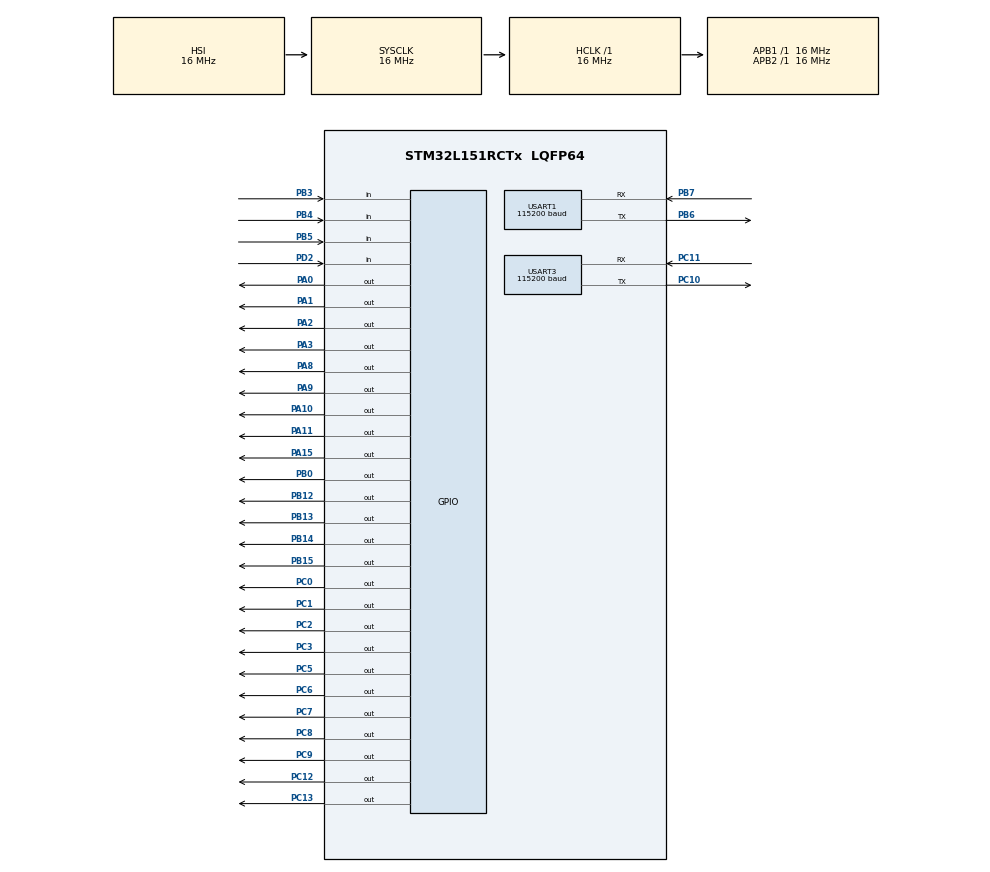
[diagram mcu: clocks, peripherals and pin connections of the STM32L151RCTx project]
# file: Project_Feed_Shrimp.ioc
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Mcu.Family=STM32L1
Mcu.Name=STM32L151RCTx
Mcu.Package=LQFP64
NVIC.PriorityGroup=NVIC_PRIORITYGROUP_4
NVIC.TIM2_IRQn=true\:3\:0\:true\:false\:true\:true\:true\:true
NVIC.USART1_IRQn=true\:2\:0\:true\:false\:true\:true\:true\:true
NVIC.USART3_IRQn=true\:2\:0\:true\:false\:true\:true\:true\:true
PA0-WKUP1.Signal=GPIO_Output
PA1.Signal=GPIO_Output
PA10.Signal=GPIO_Output
PA11.Signal=GPIO_Output
PA13.Mode=Serial_Wire
PA13.Signal=SYS_JTMS-SWDIO
PA14.Mode=Serial_Wire
PA14.Signal=SYS_JTCK-SWCLK
PA15.Signal=GPIO_Output
PA2.Signal=GPIO_Output
PA3.Signal=GPIO_Output
PA8.Signal=GPIO_Output
PA9.Signal=GPIO_Output
PB0.Signal=GPIO_Output
PB12.Signal=GPIO_Output
PB13.Signal=GPIO_Output
PB14.Signal=GPIO_Output
PB15.Signal=GPIO_Output
PB3.GPIO_PuPd=GPIO_PULLUP
PB3.Signal=GPIO_Input
PB4.GPIO_PuPd=GPIO_PULLUP
PB4.Signal=GPIO_Input
PB5.GPIO_PuPd=GPIO_PULLUP
PB5.Signal=GPIO_Input
PB6.Mode=Asynchronous
PB6.Signal=USART1_TX
PB7.Mode=Asynchronous
PB7.Signal=USART1_RX
PC0.Signal=GPIO_Output
PC1.Signal=GPIO_Output
PC10.Mode=Asynchronous
PC10.Signal=USART3_TX
PC11.Mode=Asynchronous
PC11.Signal=USART3_RX
PC12.Signal=GPIO_Output
PC13-WKUP2.Signal=GPIO_Output
PC14-OSC32_IN.Mode=LSE-External-Oscillator
PC14-OSC32_IN.Signal=RCC_OSC32_IN
PC15-OSC32_OUT.Mode=LSE-External-Oscillator
PC15-OSC32_OUT.Signal=RCC_OSC32_OUT
PC2.Signal=GPIO_Output
PC3.Signal=GPIO_Output
PC5.Signal=GPIO_Output
PC6.Signal=GPIO_Output
PC7.Signal=GPIO_Output
PC8.Signal=GPIO_Output
PC9.Signal=GPIO_Output
PD2.GPIO_PuPd=GPIO_PULLUP
PD2.Signal=GPIO_Input
PH0-OSC_IN.Mode=HSE-External-Oscillator
PH0-OSC_IN.Signal=RCC_OSC_IN
PH1-OSC_OUT.Mode=HSE-External-Oscillator
PH1-OSC_OUT.Signal=RCC_OSC_OUT
ProjectManager.HeapSize=0x200
ProjectManager.StackSize=0x400
ProjectManager.TargetToolchain=MDK-ARM V5
RCC.AHBFreq_Value=16000000
RCC.APB1Freq_Value=16000000
RCC.APB1TimFreq_Value=16000000
RCC.APB2Freq_Value=16000000
RCC.APB2TimFreq_Value=16000000
RCC.HCLKFreq_Value=16000000
RCC.HSE_VALUE=24000000
RCC.HSI_VALUE=16000000
RCC.MSI_VALUE=2097000
RCC.RTCClockSelection=RCC_RTCCLKSOURCE_LSE
RCC.RTCClockSelectionVirtual=RCC_RTCCLKSOURCE_LSE
RCC.SYSCLKFreq_VALUE=16000000
RCC.SYSCLKSource=RCC_SYSCLKSOURCE_HSI
RCC.VCOOutputFreq_Value=48000000
RTC.AsynchPrediv=127
RTC.Date=4
RTC.Format=RTC_FORMAT_BIN
RTC.Hours=0
RTC.Minutes=0
RTC.Month=RTC_MONTH_JANUARY
RTC.SynchPrediv=255
RTC.WeekDay=RTC_WEEKDAY_MONDAY
RTC.Year=0
TIM2.AutoReloadPreload=TIM_AUTORELOAD_PRELOAD_ENABLE
TIM2.Period=999
TIM2.Prescaler=15999
USART1.BaudRate=115200
USART1.VirtualMode=VM_ASYNC
USART3.BaudRate=115200
USART3.VirtualMode=VM_ASYNC
VP_RTC_VS_RTC_Activate.Mode=RTC_Enabled
VP_RTC_VS_RTC_Calendar.Mode=RTC_Calendar
VP_TIM2_VS_ClockSourceINT.Mode=Internal
board=custom

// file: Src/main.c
/* USER CODE BEGIN Header */
/**
  ******************************************************************************
  * @file           : main.c
  * @brief          : Main program body
  ******************************************************************************
  * @attention
  *
  * <h2><center>&copy; Copyright (c) 2023 STMicroelectronics.
  * All rights reserved.</center></h2>
  *
  * This software component is licensed by ST under BSD 3-Clause license,
  * the "License"; You may not use this file except in compliance with the
  * License. You may obtain a copy of the License at:
  *                        opensource.org/licenses/BSD-3-Clause
  *
  ******************************************************************************
  */
/* USER CODE END Header */
#include "main.h"

/* USER CODE BEGIN Includes */
#include "main.h"
#include "CLCD.h"
#include "Relay_Led.h"
#include "user_LCD_object.h"
#include "user_check_button.h"
#include "uart_sim.h"
#include "user_sim.h"
/* USER CODE END Includes */

/* USER CODE BEGIN PD */
#define RELAY1 GPIO_PIN_2
#define RELAY2 GPIO_PIN_3
#define RELAY3 GPIO_PIN_0
#define RELAY4 GPIO_PIN_1
#define LED5   GPIO_PIN_0
#define LED6   GPIO_PIN_1

/* USER CODE END PD */

RTC_HandleTypeDef hrtc;

TIM_HandleTypeDef htim2;

UART_HandleTypeDef huart1;
UART_HandleTypeDef huart3;

/* USER CODE BEGIN PV */
uint32_t runTime=0;
uint32_t time1=10; //so giay cho an
uint32_t time2=10;	//so phut giua 2 chu ky ban
uint32_t time3=5; //thoi gian giua 2 moto vang va chinh luong

uint16_t State=1;
uint16_t checkState=0;
uint16_t countState=0;
uint16_t setupCount=1;
uint16_t check_Power_OFF=0;
uint8_t check_config=0;
uint8_t check_connect=0;

//gio phut giay
uint16_t hh, mm, ss;

CLCD_Name LCD;

UART_BUFFER rx_uart3;
UART_BUFFER rx_uart1;

RTC_TimeTypeDef sTime;
RTC_DateTypeDef sDate;

REAL_TIME RTC_Current={0};
uint8_t get_RTC=0;
uint8_t get_RTC_complete=0;
uint8_t run_Time_Current=0;
/* USER CODE END PV */

void SystemClock_Config(void);
static void MX_GPIO_Init(void);
static void MX_TIM2_Init(void);
static void MX_USART1_UART_Init(void);
static void MX_USART3_UART_Init(void);
static void MX_RTC_Init(void);
/* USER CODE BEGIN PFP */
void HAL_TIM_PeriodElapsedCallback(TIM_HandleTypeDef *htim);
void HAL_UART_RxCpltCallback(UART_HandleTypeDef *huart);
/* USER CODE END PFP */

/* USER CODE BEGIN 0 */
void Delay_1ms(void);
void Delay_s(int time);
void Check_BT_Callback(void);
void Check_Test(void);
void Set_Time(uint16_t *hh, uint16_t *mm, uint16_t *ss);
void Run_Feed_Shrimp(void);
void BT_Check_Up_Down(void);
void Display_Time(void);
void Read_Flash(void);
void Check_SMS_Receive(void);
void Set_RTC(REAL_TIME RTC_Current);
void Module_SIM(void);
void SendData_Control_SIM(void);
void Check_Disconnect_Error_SIM(void);
void Time_Current(void);
/* USER CODE END 0 */

int main(void)
{
  /* USER CODE BEGIN 1 */
	rx_uart1.huart=&huart1;
	rx_uart3.huart=&huart3;
  /* USER CODE END 1 */

  /* MCU Configuration--------------------------------------------------------*/

  /* Reset of all peripherals, Initializes the Flash interface and the Systick. */
  HAL_Init();

  /* Configure the system clock */
  SystemClock_Config();

  /* Initialize all configured peripherals */
  MX_GPIO_Init();
  MX_TIM2_Init();
  MX_USART1_UART_Init();
  MX_USART3_UART_Init();
  MX_RTC_Init();
  /* USER CODE BEGIN 2 */
	//Linked_List_Init();
	HAL_TIM_Base_Start_IT(&htim2);
	HAL_UART_Receive_IT(&huart3,&rx_uart3.buffer,1);
	HAL_UART_Receive_IT(&huart1,&rx_uart1.buffer,1);

	CLCD_4BIT_Init(&LCD, 16,2, GPIOC, GPIO_PIN_8,GPIOC, GPIO_PIN_7,
                             GPIOC, GPIO_PIN_6,GPIOB, GPIO_PIN_15,
                             GPIOB, GPIO_PIN_14,GPIOB, GPIO_PIN_12);
	//Config_SIM_Before_While(&rx_uart1, &rx_uart3, runTime);
	Read_Flash();
	CLCD_SetCursor(&LCD, 0,0);
	CLCD_WriteString(&LCD, "        00:00:00");

	//Receive_SMS_Setup("+CMT: +84966674796,23/03/14,09:34:14+28 SETUP T1=  100  t3:199", &time1, &time2, &time3);
	Run_Begin(&setupCount, time1, time2, time3);
  /* USER CODE END 2 */

  /* Infinite loop */
	while (1)
  {

    /* USER CODE BEGIN 3 */
		//Check_SMS_Receive();
		Module_SIM();

		Display_Time();
		Check_BT_Callback();
		Time_Current();
		if(State==0 )
		{
			Check_Test();
			BT_Esc_Exit_Setup(&State, &setupCount, &time1, &time2, &time3);
			USER_LCD_Display_Running_OR_Setup(State);
			if(setupCount!=3) BT_Check_Up_Down();
			USER_LCD_Display_Setup(&LCD, setupCount);
		}

		if(State==1)
		{
			Run_Feed_Shrimp();
			USER_LCD_Display_Running_OR_Setup(State);
			USER_LCD_Display_Running(&LCD, setupCount);
			Check_Test();
		}
  }
  /* USER CODE END 3 */
}

void SystemClock_Config(void)
{
  RCC_OscInitTypeDef RCC_OscInitStruct = {0};
  RCC_ClkInitTypeDef RCC_ClkInitStruct = {0};
  RCC_PeriphCLKInitTypeDef PeriphClkInit = {0};

  /** Configure the main internal regulator output voltage
  */
  __HAL_PWR_VOLTAGESCALING_CONFIG(PWR_REGULATOR_VOLTAGE_SCALE1);

  /** Initializes the RCC Oscillators according to the specified parameters
  * in the RCC_OscInitTypeDef structure.
  */
  RCC_OscInitStruct.OscillatorType = RCC_OSCILLATORTYPE_HSI|RCC_OSCILLATORTYPE_LSE;
  RCC_OscInitStruct.LSEState = RCC_LSE_ON;
  RCC_OscInitStruct.HSIState = RCC_HSI_ON;
  RCC_OscInitStruct.HSICalibrationValue = RCC_HSICALIBRATION_DEFAULT;
  RCC_OscInitStruct.PLL.PLLState = RCC_PLL_NONE;
  if (HAL_RCC_OscConfig(&RCC_OscInitStruct) != HAL_OK)
  {
    Error_Handler();
  }

  /** Initializes the CPU, AHB and APB buses clocks
  */
  RCC_ClkInitStruct.ClockType = RCC_CLOCKTYPE_HCLK|RCC_CLOCKTYPE_SYSCLK
                              |RCC_CLOCKTYPE_PCLK1|RCC_CLOCKTYPE_PCLK2;
  RCC_ClkInitStruct.SYSCLKSource = RCC_SYSCLKSOURCE_HSI;
  RCC_ClkInitStruct.AHBCLKDivider = RCC_SYSCLK_DIV1;
  RCC_ClkInitStruct.APB1CLKDivider = RCC_HCLK_DIV1;
  RCC_ClkInitStruct.APB2CLKDivider = RCC_HCLK_DIV1;

  if (HAL_RCC_ClockConfig(&RCC_ClkInitStruct, FLASH_LATENCY_0) != HAL_OK)
  {
    Error_Handler();
  }
  PeriphClkInit.PeriphClockSelection = RCC_PERIPHCLK_RTC;
  PeriphClkInit.RTCClockSelection = RCC_RTCCLKSOURCE_LSE;
  if (HAL_RCCEx_PeriphCLKConfig(&PeriphClkInit) != HAL_OK)
  {
    Error_Handler();
  }
}

static void MX_RTC_Init(void)
{

  RTC_TimeTypeDef sTime = {0};
  RTC_DateTypeDef sDate = {0};

  /** Initialize RTC Only
  */
  hrtc.Instance = RTC;
  hrtc.Init.HourFormat = RTC_HOURFORMAT_24;
  hrtc.Init.AsynchPrediv = 127;
  hrtc.Init.SynchPrediv = 255;
  hrtc.Init.OutPut = RTC_OUTPUT_DISABLE;
  hrtc.Init.OutPutPolarity = RTC_OUTPUT_POLARITY_HIGH;
  hrtc.Init.OutPutType = RTC_OUTPUT_TYPE_OPENDRAIN;
  if (HAL_RTC_Init(&hrtc) != HAL_OK)
  {
    Error_Handler();
  }

  /* USER CODE BEGIN Check_RTC_BKUP */
	if(HAL_RTCEx_BKUPRead(&hrtc, RTC_BKP_DR1)==0x2608)
	{
  /* USER CODE END Check_RTC_BKUP */

  /** Initialize RTC and set the Time and Date
  */
  sTime.Hours = 0;
  sTime.Minutes = 0;
  sTime.Seconds = 0;
  sTime.DayLightSaving = RTC_DAYLIGHTSAVING_NONE;
  sTime.StoreOperation = RTC_STOREOPERATION_RESET;
  if (HAL_RTC_SetTime(&hrtc, &sTime, RTC_FORMAT_BIN) != HAL_OK)
  {
    Error_Handler();
  }
  sDate.WeekDay = RTC_WEEKDAY_MONDAY;
  sDate.Month = RTC_MONTH_JANUARY;
  sDate.Date = 4;
  sDate.Year = 0;

  if (HAL_RTC_SetDate(&hrtc, &sDate, RTC_FORMAT_BIN) != HAL_OK)
  {
    Error_Handler();
  }
  /* USER CODE BEGIN RTC_Init 2 */
	HAL_RTCEx_BKUPWrite(&hrtc, RTC_BKP_DR1, 0x2608);
	}
  /* USER CODE END RTC_Init 2 */

}

static void MX_TIM2_Init(void)
{

  TIM_ClockConfigTypeDef sClockSourceConfig = {0};
  TIM_MasterConfigTypeDef sMasterConfig = {0};

  htim2.Instance = TIM2;
  htim2.Init.Prescaler = 15999;
  htim2.Init.CounterMode = TIM_COUNTERMODE_UP;
  htim2.Init.Period = 999;
  htim2.Init.ClockDivision = TIM_CLOCKDIVISION_DIV1;
  htim2.Init.AutoReloadPreload = TIM_AUTORELOAD_PRELOAD_ENABLE;
  if (HAL_TIM_Base_Init(&htim2) != HAL_OK)
  {
    Error_Handler();
  }
  sClockSourceConfig.ClockSource = TIM_CLOCKSOURCE_INTERNAL;
  if (HAL_TIM_ConfigClockSource(&htim2, &sClockSourceConfig) != HAL_OK)
  {
    Error_Handler();
  }
  sMasterConfig.MasterOutputTrigger = TIM_TRGO_RESET;
  sMasterConfig.MasterSlaveMode = TIM_MASTERSLAVEMODE_DISABLE;
  if (HAL_TIMEx_MasterConfigSynchronization(&htim2, &sMasterConfig) != HAL_OK)
  {
    Error_Handler();
  }

}

static void MX_USART1_UART_Init(void)
{

  huart1.Instance = USART1;
  huart1.Init.BaudRate = 115200;
  huart1.Init.WordLength = UART_WORDLENGTH_8B;
  huart1.Init.StopBits = UART_STOPBITS_1;
  huart1.Init.Parity = UART_PARITY_NONE;
  huart1.Init.Mode = UART_MODE_TX_RX;
  huart1.Init.HwFlowCtl = UART_HWCONTROL_NONE;
  huart1.Init.OverSampling = UART_OVERSAMPLING_16;
  if (HAL_UART_Init(&huart1) != HAL_OK)
  {
    Error_Handler();
  }

}

static void MX_USART3_UART_Init(void)
{

  huart3.Instance = USART3;
  huart3.Init.BaudRate = 115200;
  huart3.Init.WordLength = UART_WORDLENGTH_8B;
  huart3.Init.StopBits = UART_STOPBITS_1;
  huart3.Init.Parity = UART_PARITY_NONE;
  huart3.Init.Mode = UART_MODE_TX_RX;
  huart3.Init.HwFlowCtl = UART_HWCONTROL_NONE;
  huart3.Init.OverSampling = UART_OVERSAMPLING_16;
  if (HAL_UART_Init(&huart3) != HAL_OK)
  {
    Error_Handler();
  }

}

static void MX_GPIO_Init(void)
{
  GPIO_InitTypeDef GPIO_InitStruct = {0};

  /* GPIO Ports Clock Enable */
  __HAL_RCC_GPIOC_CLK_ENABLE();
  __HAL_RCC_GPIOH_CLK_ENABLE();
  __HAL_RCC_GPIOA_CLK_ENABLE();
  __HAL_RCC_GPIOB_CLK_ENABLE();
  __HAL_RCC_GPIOD_CLK_ENABLE();

  /*Configure GPIO pin Output Level */
  HAL_GPIO_WritePin(GPIOC, GPIO_PIN_13|GPIO_PIN_0|GPIO_PIN_1|GPIO_PIN_2
                          |GPIO_PIN_3|GPIO_PIN_5|GPIO_PIN_6|GPIO_PIN_7
                          |GPIO_PIN_8|GPIO_PIN_9|GPIO_PIN_12, GPIO_PIN_RESET);

  /*Configure GPIO pin Output Level */
  HAL_GPIO_WritePin(GPIOA, GPIO_PIN_0|GPIO_PIN_1|GPIO_PIN_2|GPIO_PIN_3
                          |GPIO_PIN_8|GPIO_PIN_9|GPIO_PIN_10|GPIO_PIN_11
                          |GPIO_PIN_15, GPIO_PIN_RESET);

  /*Configure GPIO pin Output Level */
  HAL_GPIO_WritePin(GPIOB, GPIO_PIN_0|GPIO_PIN_12|GPIO_PIN_13|GPIO_PIN_14
                          |GPIO_PIN_15, GPIO_PIN_RESET);

  /*Configure GPIO pins : PC13 PC0 PC1 PC2
                           PC3 PC5 PC6 PC7
                           PC8 PC9 PC12 */
  GPIO_InitStruct.Pin = GPIO_PIN_13|GPIO_PIN_0|GPIO_PIN_1|GPIO_PIN_2
                          |GPIO_PIN_3|GPIO_PIN_5|GPIO_PIN_6|GPIO_PIN_7
                          |GPIO_PIN_8|GPIO_PIN_9|GPIO_PIN_12;
  GPIO_InitStruct.Mode = GPIO_MODE_OUTPUT_PP;
  GPIO_InitStruct.Pull = GPIO_NOPULL;
  GPIO_InitStruct.Speed = GPIO_SPEED_FREQ_LOW;
  HAL_GPIO_Init(GPIOC, &GPIO_InitStruct);

  /*Configure GPIO pins : PA0 PA1 PA2 PA3
                           PA8 PA9 PA10 PA11
                           PA15 */
  GPIO_InitStruct.Pin = GPIO_PIN_0|GPIO_PIN_1|GPIO_PIN_2|GPIO_PIN_3
                          |GPIO_PIN_8|GPIO_PIN_9|GPIO_PIN_10|GPIO_PIN_11
                          |GPIO_PIN_15;
  GPIO_InitStruct.Mode = GPIO_MODE_OUTPUT_PP;
  GPIO_InitStruct.Pull = GPIO_NOPULL;
  GPIO_InitStruct.Speed = GPIO_SPEED_FREQ_LOW;
  HAL_GPIO_Init(GPIOA, &GPIO_InitStruct);

  /*Configure GPIO pins : PB0 PB12 PB13 PB14
                           PB15 */
  GPIO_InitStruct.Pin = GPIO_PIN_0|GPIO_PIN_12|GPIO_PIN_13|GPIO_PIN_14
                          |GPIO_PIN_15;
  GPIO_InitStruct.Mode = GPIO_MODE_OUTPUT_PP;
  GPIO_InitStruct.Pull = GPIO_NOPULL;
  GPIO_InitStruct.Speed = GPIO_SPEED_FREQ_LOW;
  HAL_GPIO_Init(GPIOB, &GPIO_InitStruct);

  /*Configure GPIO pin : PD2 */
  GPIO_InitStruct.Pin = GPIO_PIN_2;
  GPIO_InitStruct.Mode = GPIO_MODE_INPUT;
  GPIO_InitStruct.Pull = GPIO_PULLUP;
  HAL_GPIO_Init(GPIOD, &GPIO_InitStruct);

  /*Configure GPIO pins : PB3 PB4 PB5 */
  GPIO_InitStruct.Pin = GPIO_PIN_3|GPIO_PIN_4|GPIO_PIN_5;
  GPIO_InitStruct.Mode = GPIO_MODE_INPUT;
  GPIO_InitStruct.Pull = GPIO_PULLUP;
  HAL_GPIO_Init(GPIOB, &GPIO_InitStruct);

}

/* USER CODE BEGIN 4 */

void Module_SIM(void)
{
	if(check_config==0)
	{
		check_config=Config_SIM_In_While(&rx_uart1, &rx_uart3);
		if(check_config == 1)
		{
			if(RTC_Current.Year == 0)
			{
				get_RTC=1;
			}
			check_connect =0;
		}
	}
	else
	{
		Check_Disconnect_Error_SIM();
		SendData_Control_SIM();
	}
}

void Check_Disconnect_Error_SIM(void)
{
	if(Compare_Uart1_RX_Uart3_TX_True_Display(&rx_uart1, &rx_uart3, "DISCONNECTED") == 1)
	{
		check_connect=1;
	}

	if(Compare_Uart1_RX_Uart3_TX_True_Display(&rx_uart1, &rx_uart3, "ERROR") == 1)
	{
		check_connect=1;
	}

	if(Compare_Uart1_RX_Uart3_TX_True_Display(&rx_uart1, &rx_uart3, "FAIL") == 1)
	{
		check_connect=1;
	}

	if(check_connect == 1)
	{
		Reset_SendData();
		int8_t connect_server = Connect_Server_SIM(&rx_uart1, &rx_uart3);
		if(connect_server == 1) check_connect =0;
		if(connect_server == -1) check_config =0;
	}
}

void SendData_Control_SIM(void)
{
	if(check_connect == 0 && check_config == 1)
	{
		if(get_RTC == 1)
		{
			Get_Real_Time(&rx_uart1, &rx_uart3, &RTC_Current, &check_connect, &get_RTC, &get_RTC_complete );
		}
		else
		{
			if(Receive_Control_Setup(&rx_uart1, &rx_uart3, &check_connect, &time1, &time2, &time3 )==1)
			{
				Reset_Relay_Led(GPIOC, RELAY1, GPIOC, RELAY2,GPIOC, LED5);
				Reset_Relay_Led(GPIOA, RELAY3, GPIOA, RELAY4,GPIOC, LED6);
				runTime=0;
				countState=0;
				State=1;
				FLASH_WritePage(FLASH_USER_START_ADDR, FLASH_USER_END_ADDR, 1, time1, time2, time3);
				Run_Begin(&setupCount, time1, time2, time3);
			}
			int8_t check_send_data = SendData_Server(&rx_uart1, &rx_uart3, &RTC_Current);
			if(check_send_data == 1) check_connect = 1;
			if(check_send_data == -1) check_config = 0;
		}

		if(get_RTC_complete == 1)
		{
			Set_RTC(RTC_Current);
			get_RTC_complete=0;
			run_Time_Current=1;
		}
	}
}

void Check_SMS_Receive(void)
{
	if(Check_CountBuffer_Complete_Uart3(&rx_uart3)==1)
	{
		if(Wait_SMS_Receive(&rx_uart1,&rx_uart3,"AT+RESET")==1)
		{
			Reset_Relay_Led(GPIOC, RELAY1, GPIOC, RELAY2,GPIOC, LED5);
			Reset_Relay_Led(GPIOA, RELAY3, GPIOA, RELAY4,GPIOC, LED6);
			runTime=0;
			countState=0;
			//Delete_Buffer(&rx_uart3);
		}

		if(Wait_SMS_Receive(&rx_uart1,&rx_uart3,"SETUP")==1)
		{
			if(Receive_SMS_Setup(rx_uart3.sim_rx, &time1, &time2, &time3)==1)
			{
			Reset_Relay_Led(GPIOC, RELAY1, GPIOC, RELAY2,GPIOC, LED5);
			Reset_Relay_Led(GPIOA, RELAY3, GPIOA, RELAY4,GPIOC, LED6);
			runTime=0;
			countState=0;
			State=1;
			FLASH_WritePage(FLASH_USER_START_ADDR, FLASH_USER_END_ADDR, 1, time1, time2, time3);
			Run_Begin(&setupCount, time1, time2, time3);
			}
			//Run_Begin(&setupCount, time1, time2, time3);
			//Delete_Buffer(&rx_uart3);
		}
		Transmit_Data_Uart(*rx_uart1.huart,rx_uart3.sim_rx);
		Delete_Buffer(&rx_uart3);
	}
}

void Run_Feed_Shrimp(void)
{
	if(countState==0)
	{
		//Set_Relay_Led(GPIOC, RELAY1, GPIOC, RELAY2,GPIOC, LED5);
		countState++;
		runTime=0;
	}
	if(countState==1 && runTime>=time3 )
	{
		//Set_Relay_Led(GPIOA, RELAY3, GPIOA, RELAY4,GPIOC, LED6);
		countState++;
		runTime=0;
	}
	if(countState==2 && runTime>=time1 )
	{
		//Reset_Relay_Led(GPIOA, RELAY3, GPIOA, RELAY4,GPIOC, LED6);
		countState++;
		runTime=0;
	}
	if(countState==3 && runTime>=time3 )
	{
		//Reset_Relay_Led(GPIOC, RELAY1, GPIOC, RELAY2,GPIOC, LED5);
		countState++;
		runTime=0;
	}
	if(countState==4 && runTime>=time2)
	{
		runTime=0;
		countState=0;
	}
}
uint32_t k;
void Check_BT_Callback(void)
{
	Check_BT_ENTER(&State, &checkState, &setupCount, &time1, &time2, &time3);
	Check_BT_ESC(State, &setupCount);
	Check_BT_UP(State);
	Check_BT_DOWN(State);

	//Check_Test();
}

void Set_Time(uint16_t *hh, uint16_t *mm, uint16_t *ss)
{
	const uint16_t MINUTES_OF_THE_HOUR=60;
	const uint16_t SECOND_OF_THE_HOUR=60;
	const uint32_t SECOND_OF_THE_DAY=86400;

	*hh=runTime/(MINUTES_OF_THE_HOUR*SECOND_OF_THE_HOUR);
	*mm=(runTime-(*hh)*MINUTES_OF_THE_HOUR*SECOND_OF_THE_HOUR)/SECOND_OF_THE_HOUR;
	*ss=(runTime-(*hh)*MINUTES_OF_THE_HOUR*SECOND_OF_THE_HOUR-(*mm)*SECOND_OF_THE_HOUR);

	if(runTime>SECOND_OF_THE_DAY)
	{
	runTime=0; *hh=0; *mm=0; *ss=0;
	}
}

void Check_Test(void)
{
	if(checkState==1)
	{
		Reset_Relay_Led(GPIOC, RELAY1, GPIOC, RELAY2,GPIOC, LED5);
		Reset_Relay_Led(GPIOA, RELAY3, GPIOA, RELAY4,GPIOC, LED6);
		countState=0;
		runTime=0;
		checkState=0;
	}
	if(State==0)
	{
		Reset_Relay_Led(GPIOC, RELAY1, GPIOC, RELAY2,GPIOC, LED5);
			Reset_Relay_Led(GPIOA, RELAY3, GPIOA, RELAY4,GPIOC, LED6);
			countState=0;
			runTime=0;
	}
}

void Display_Time(void)
{
	Set_Time(&hh, &mm, &ss);
	LCD_Change_State_Time_HH_MM_SS(hh, mm, ss);
	UintTime_To_CharTime_HH_MM_SS(hh,  mm, ss);
	USER_LCD_Display_Time(&LCD);
}

void Read_Flash(void)
{
	check_Power_OFF=FLASH_ReadData32(FLASH_USER_START_ADDR);

	if(check_Power_OFF == 1)
	{
		time1=FLASH_ReadData32(FLASH_USER_START_ADDR + 4);
		time2=FLASH_ReadData32(FLASH_USER_START_ADDR + 8);
		time3=FLASH_ReadData32(FLASH_USER_START_ADDR + 12);
	}
}

void Time_Current(void)
{
	HAL_RTC_GetTime(&hrtc, &sTime, RTC_FORMAT_BIN);
	HAL_RTC_GetDate(&hrtc, &sDate, RTC_FORMAT_BIN);
	if(sDate.Year != 0)
	{
		if(sTime.Seconds!=RTC_Current.Seconds)
		{
			RTC_Current.Send_Data_Server=1;
			RTC_Current.Seconds = sTime.Seconds;
			RTC_Current.Minutes = sTime.Minutes;
			RTC_Current.Hour = sTime.Hours;
			RTC_Current.Date = sDate.Date;
			RTC_Current.Month= sDate.Month;
			RTC_Current.Year = sDate.Year;
			if(RTC_Current.Seconds==0)
			{
				RTC_Current.Send_Data_Server=1;
			}
			if(RTC_Current.Hour == 0 && RTC_Current.Minutes == 0 && RTC_Current.Seconds == 0)
			{
				get_RTC=1;
			}
		}
	}
	if(RTC_Current.Year != 0)
	{
		Packing_News(&RTC_Current);
	}
}

void HAL_TIM_PeriodElapsedCallback(TIM_HandleTypeDef *htim)
{
  UNUSED(htim);
	if(htim->Instance == htim2.Instance )
	{
		runTime++;
	}
}

void HAL_UART_RxCpltCallback(UART_HandleTypeDef *huart)
{
  /* Prevent unused argument(s) compilation warning */
  UNUSED(huart);
	if(huart->Instance == huart3.Instance)
	{
		rx_uart3.sim_rx[(rx_uart3.countBuffer)++]= rx_uart3.buffer;
		HAL_UART_Receive_IT(&huart3,&rx_uart3.buffer,1);
	}

	if(huart->Instance == huart1.Instance)
	{
		rx_uart1.sim_rx[(rx_uart1.countBuffer)++]= rx_uart1.buffer;
		HAL_UART_Receive_IT(&huart1,&rx_uart1.buffer,1);
	}
  /* NOTE: This function should not be modified, when the callback is needed,
           the HAL_UART_RxCpltCallback could be implemented in the user file
   */
}

void Set_RTC(REAL_TIME RTC_Current)
{
	sTime.Hours=RTC_Current.Hour;
	sTime.Minutes=RTC_Current.Minutes;
	sTime.Seconds=RTC_Current.Seconds;
	HAL_RTC_SetTime(&hrtc, &sTime, RTC_FORMAT_BIN);

	sDate.Year=RTC_Current.Year;
	sDate.Month=RTC_Current.Month;
	sDate.Date=RTC_Current.Date;
	HAL_RTC_SetDate(&hrtc, &sDate, RTC_FORMAT_BIN);
}

void Delay_1ms(void)
{
	__HAL_TIM_SetCounter(&htim2,0);
	while (__HAL_TIM_GetCounter(&htim2)<1000);
}
void Delay_s(int time)
{
	int i=0;
	for(i=0;i<time;i++)
	{
		Delay_1ms();
	}
}

/* USER CODE END 4 */

void Error_Handler(void)
{
}
